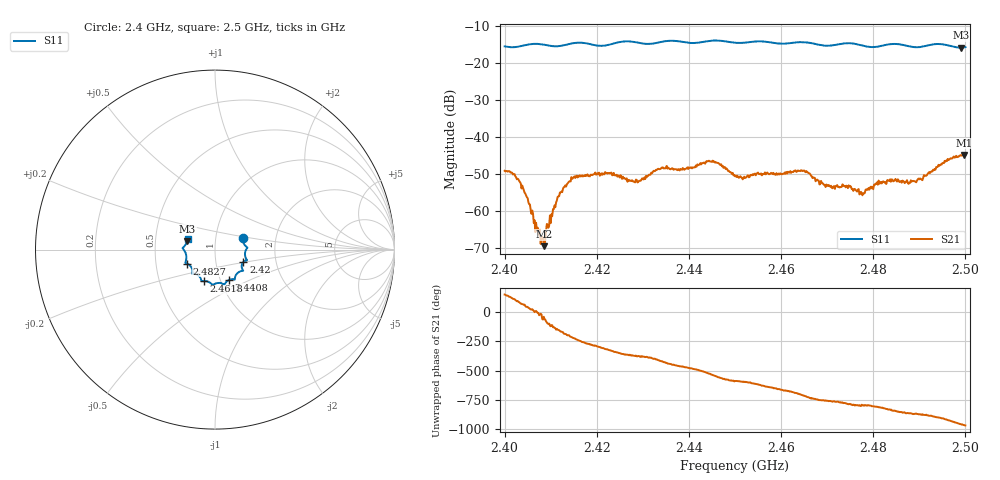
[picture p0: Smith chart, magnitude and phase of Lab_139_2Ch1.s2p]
# Hz S RI R 50
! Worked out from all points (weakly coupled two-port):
!   601 points, 2.4 GHz to 2.5 GHz, reference 50 ohm
!   highest |S21| = -44.83 dB at 2.4997 GHz (marker M1); lowest = -69.4 dB at 2.4085 GHz (marker M2)
!   lowest |S11| = -15.8 dB at 2.499 GHz (marker M3), VSWR 1.39, Z = 36.5 + j3.52 ohm
!   |S11| at or under -10 dB: start of sweep to end of sweep
!   S12 and S22 are empty: the file has one direction only
!   S11 on the Smith chart (normalised r, x): 2.4 GHz: 1.36, +0.17; 2.42 GHz: 1.36, -0.19; 2.4408 GHz: 1.10, -0.39; 2.4618 GHz: 0.84, -0.30; 2.4827 GHz: 0.72, -0.12; 2.5 GHz: 0.73, +0.09
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2.4e9  0.1558 0.0623  -0.003 0.00182  0 0  0 0
2.4035e9  0.1674 0.0226  0.000683 0.00228  0 0  0 0
2.406833e9  0.1811 0.0111  0.000689 0.000111  0 0  0 0
2.4085e9  0.1771 0.00581  0.000257 -0.000219  0 0  0 0
2.411833e9  0.1668 -0.0275  -0.00145 -0.000665  0 0  0 0
2.414667e9  0.176 -0.0543  -0.00221 0.0016  0 0  0 0
2.416667e9  0.1783 -0.0593  -0.000912 0.00282  0 0  0 0
2.42e9  0.158 -0.0693  0.00113 0.00292  0 0  0 0
2.4285e9  0.149 -0.1188  0.00262 -0.000516  0 0  0 0
2.433333e9  0.1121 -0.1519  0.00242 -0.00286  0 0  0 0
2.440833e9  0.0788 -0.169  -0.00217 -0.00325  0 0  0 0
2.445e9  0.0535 -0.1935  -0.0046 -0.000536  0 0  0 0
2.45e9  0.0279 -0.1859  -0.00199 0.00219  0 0  0 0
2.461833e9  -0.0601 -0.1754  0.00242 0.00228  0 0  0 0
2.466667e9  -0.0771 -0.1684  0.00288 -0.000642  0 0  0 0
2.4775e9  -0.1252 -0.1199  0.00063 -0.00165  0 0  0 0
2.482667e9  -0.1572 -0.0779  -0.000595 -0.00239  0 0  0 0
2.483333e9  -0.1613 -0.0764  -0.00093 -0.00242  0 0  0 0
2.489167e9  -0.1599 -0.0341  -0.00206 -0.00143  0 0  0 0
2.499e9  -0.1545 0.047  -0.00333 0.00464  0 0  0 0
2.499667e9  -0.1524 0.0567  -0.00264 0.00509  0 0  0 0
2.5e9  -0.1519 0.0617  -0.00233 0.00522  0 0  0 0
